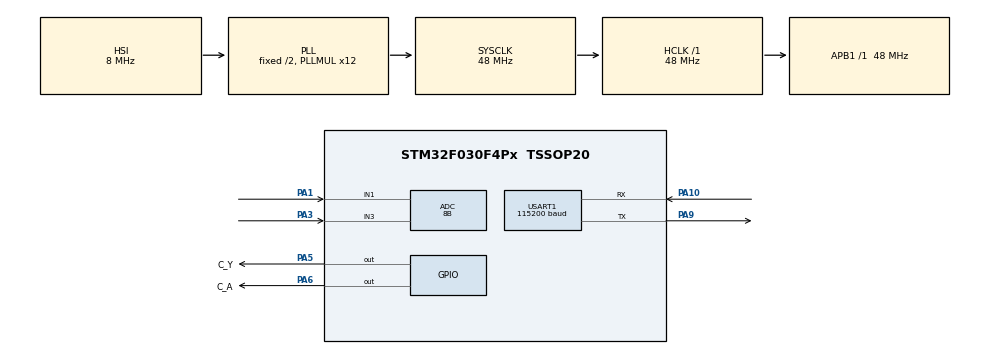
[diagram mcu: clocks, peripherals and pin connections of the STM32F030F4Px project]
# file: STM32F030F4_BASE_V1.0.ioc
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ADC.ClockPrescaler=ADC_CLOCK_ASYNC_DIV1
ADC.ContinuousConvMode=DISABLE
ADC.DMAContinuousRequests=ENABLE
ADC.DataAlign=ADC_DATAALIGN_RIGHT
ADC.DiscontinuousConvMode=DISABLE
ADC.EOCSelection=ADC_EOC_SINGLE_CONV
ADC.EnableAnalogWatchDog=false
ADC.ExternalTrigConv=ADC_EXTERNALTRIGCONV_T1_TRGO
ADC.ExternalTrigConvEdge=ADC_EXTERNALTRIGCONVEDGE_RISING
ADC.LowPowerAutoPowerOff=DISABLE
ADC.LowPowerAutoWait=DISABLE
ADC.Overrun=ADC_OVR_DATA_PRESERVED
ADC.Resolution=ADC_RESOLUTION_8B
ADC.SamplingTime=ADC_SAMPLETIME_239CYCLES_5
ADC.ScanConvMode=ADC_SCAN_DIRECTION_FORWARD
Dma.ADC.2.Direction=DMA_PERIPH_TO_MEMORY
Dma.ADC.2.Instance=DMA1_Channel1
Dma.ADC.2.MemDataAlignment=DMA_MDATAALIGN_BYTE
Dma.ADC.2.MemInc=DMA_MINC_ENABLE
Dma.ADC.2.Mode=DMA_CIRCULAR
Dma.ADC.2.PeriphDataAlignment=DMA_PDATAALIGN_BYTE
Dma.ADC.2.PeriphInc=DMA_PINC_DISABLE
Dma.ADC.2.Priority=DMA_PRIORITY_LOW
Dma.Request0=USART1_RX
Dma.Request1=USART1_TX
Dma.Request2=ADC
Dma.USART1_RX.0.Direction=DMA_PERIPH_TO_MEMORY
Dma.USART1_RX.0.Instance=DMA1_Channel3
Dma.USART1_RX.0.MemDataAlignment=DMA_MDATAALIGN_BYTE
Dma.USART1_RX.0.MemInc=DMA_MINC_ENABLE
Dma.USART1_RX.0.Mode=DMA_NORMAL
Dma.USART1_RX.0.PeriphDataAlignment=DMA_PDATAALIGN_BYTE
Dma.USART1_RX.0.PeriphInc=DMA_PINC_DISABLE
Dma.USART1_RX.0.Priority=DMA_PRIORITY_LOW
Dma.USART1_TX.1.Direction=DMA_MEMORY_TO_PERIPH
Dma.USART1_TX.1.Instance=DMA1_Channel2
Dma.USART1_TX.1.MemDataAlignment=DMA_MDATAALIGN_BYTE
Dma.USART1_TX.1.MemInc=DMA_MINC_ENABLE
Dma.USART1_TX.1.Mode=DMA_NORMAL
Dma.USART1_TX.1.PeriphDataAlignment=DMA_PDATAALIGN_BYTE
Dma.USART1_TX.1.PeriphInc=DMA_PINC_DISABLE
Dma.USART1_TX.1.Priority=DMA_PRIORITY_LOW
Mcu.Family=STM32F0
Mcu.Name=STM32F030F4Px
Mcu.Package=TSSOP20
NVIC.ADC1_IRQn=true\:0\:0\:false\:false\:true
NVIC.DMA1_Channel1_IRQn=true\:0\:0\:false\:false\:true
NVIC.DMA1_Channel2_3_IRQn=true\:0\:0\:false\:false\:true
NVIC.TIM16_IRQn=true\:1\:0\:true\:false\:true
NVIC.TIM17_IRQn=true\:2\:0\:true\:false\:true
PA1.Mode=IN1
PA1.Signal=ADC_IN1
PA10.Mode=Asynchronous
PA10.Signal=USART1_RX
PA3.Mode=IN3
PA3.Signal=ADC_IN3
PA5.GPIO_Label=C_Y
PA5.Signal=GPIO_Output
PA6.GPIO_Label=C_A
PA6.Signal=GPIO_Output
PA9.Mode=Asynchronous
PA9.Signal=USART1_TX
ProjectManager.HeapSize=0x800
ProjectManager.StackSize=0x400
ProjectManager.TargetToolchain=MDK-ARM V5
RCC.AHBFreq_Value=48000000
RCC.APB1Freq_Value=48000000
RCC.APB1TimFreq_Value=48000000
RCC.HCLKFreq_Value=48000000
RCC.PLLMUL=RCC_PLL_MUL12
RCC.SYSCLKFreq_VALUE=48000000
RCC.SYSCLKSource=RCC_SYSCLKSOURCE_PLLCLK
TIM1.AutoReloadPreload=TIM_AUTORELOAD_PRELOAD_ENABLE
TIM1.Period=38-1
TIM1.Prescaler=48-1
TIM1.TIM_MasterOutputTrigger=TIM_TRGO_UPDATE
TIM16.AutoReloadPreload=TIM_AUTORELOAD_PRELOAD_ENABLE
TIM16.Period=25-1
TIM16.Prescaler=24-1
TIM16.RepetitionCounter=0
TIM17.AutoReloadPreload=TIM_AUTORELOAD_PRELOAD_ENABLE
TIM17.Period=50000-1
TIM17.Prescaler=48-1
USART1.BaudRate=115200
USART1.VirtualMode-Asynchronous=VM_ASYNC
VP_TIM16_VS_ClockSourceINT.Mode=Enable_Timer
VP_TIM17_VS_ClockSourceINT.Mode=Enable_Timer
VP_TIM1_VS_ClockSourceINT.Mode=Internal
board=STM32F030F4_BASE_V1.0

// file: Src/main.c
/**
  ******************************************************************************
  * File Name          : main.c
  * Description        : Main program body
  ******************************************************************************
  ** This notice applies to any and all portions of this file
  * that are not between comment pairs USER CODE BEGIN and
  * USER CODE END. Other portions of this file, whether
  * inserted by the user or by software development tools
  * are owned by their respective copyright owners.
  *
  * COPYRIGHT(c) 2017 STMicroelectronics
  *
  * Redistribution and use in source and binary forms, with or without modification,
  * are permitted provided that the following conditions are met:
  *   1. Redistributions of source code must retain the above copyright notice,
  *      this list of conditions and the following disclaimer.
  *   2. Redistributions in binary form must reproduce the above copyright notice,
  *      this list of conditions and the following disclaimer in the documentation
  *      and/or other materials provided with the distribution.
  *   3. Neither the name of STMicroelectronics nor the names of its contributors
  *      may be used to endorse or promote products derived from this software
  *      without specific prior written permission.
  *
  * THIS SOFTWARE IS PROVIDED BY THE COPYRIGHT HOLDERS AND CONTRIBUTORS "AS IS"
  * AND ANY EXPRESS OR IMPLIED WARRANTIES, INCLUDING, BUT NOT LIMITED TO, THE
  * IMPLIED WARRANTIES OF MERCHANTABILITY AND FITNESS FOR A PARTICULAR PURPOSE ARE
  * DISCLAIMED. IN NO EVENT SHALL THE COPYRIGHT HOLDER OR CONTRIBUTORS BE LIABLE
  * FOR ANY DIRECT, INDIRECT, INCIDENTAL, SPECIAL, EXEMPLARY, OR CONSEQUENTIAL
  * DAMAGES (INCLUDING, BUT NOT LIMITED TO, PROCUREMENT OF SUBSTITUTE GOODS OR
  * SERVICES; LOSS OF USE, DATA, OR PROFITS; OR BUSINESS INTERRUPTION) HOWEVER
  * CAUSED AND ON ANY THEORY OF LIABILITY, WHETHER IN CONTRACT, STRICT LIABILITY,
  * OR TORT (INCLUDING NEGLIGENCE OR OTHERWISE) ARISING IN ANY WAY OUT OF THE USE
  * OF THIS SOFTWARE, EVEN IF ADVISED OF THE POSSIBILITY OF SUCH DAMAGE.
  *
  ******************************************************************************
  */
#include "main.h"
#include "stm32f0xx_hal.h"
#include "adc.h"
#include "dma.h"
#include "tim.h"
#include "usart.h"
#include "gpio.h"

/* USER CODE BEGIN Includes */
#include "TaskTimeManager.h"
#include "ComBuff.h"
#include "ProtocolFrame.h"
#include "ProtocolHandle.h"

#include "UltrasonicDriver.h"
/* USER CODE END Includes */

/* USER CODE BEGIN PV */
/* Private variables ---------------------------------------------------------*/

/* USER CODE END PV */

void SystemClock_Config(void);

/* USER CODE BEGIN PFP */
/* Private function prototypes -----------------------------------------------*/

/* USER CODE END PFP */

/* USER CODE BEGIN 0 */
Ultrasonic_T Ultrasonic;
#define ADC_LEN 2
char adc_data[ADC_LEN] = {0};

void LED_TEST(void){
  static uint8_t seq = 0;
//  uint8_t data[100] = "123456\r\n";
//  Uart1_DMA_Sender.Write(&Uart1_DMA_Sender, data, 8);
//  memset(data, 0, 8);
  //PRINT_HEAP();
//	HAL_GPIO_WritePin(C_Y_GPIO_Port, C_Y_Pin, (GPIO_PinState)seq%2);
//	HAL_GPIO_WritePin(C_A_GPIO_Port, C_A_Pin, (GPIO_PinState)(~(seq%2))& 0x01);
	seq++;
//	if(seq % 100 == 0)
//		printf("LED_TEST:%d,%d,%d\r\n", seq,adc_data[0], adc_data[1]);
	//printf("LED_TEST:%d, %d\r\n", tmp, htim1.Instance->CNT);
//	for(int i = 0; i < 100; i++){
//		printf("%3d:%3d ", i, Ultrasonic.Wave_Adc_Buff[i]);
//		if(i % 10 == 0)
//			printf("\r\n");
////		printf("%d,%d", adc_data[0], adc_data[1]);
//	}

//	getTempSensor();
	ULT_RESULT res = Ultrasonic_Send(&Ultrasonic);
//	printf("res:%d\r\n", res);

//	ULT_DMA_START(&ULT_ADC);
//	ULT_CAL_TIM_START();//计时器开始计时
//
//	printf("dma时间：%d,%d\r\n", jishi1,jishi2);
//	jishi1 = jishi2 = 0;
}

//void HAL_TIM_PeriodElapsedCallback(TIM_HandleTypeDef *htim){
//	if(htim == &htim16){
//			cnt++;
//	}else if(htim == &htim17){
////		uint32_t tmp = cnt;
////		cnt = 0;
////		printf("%d, %d\r\n", tmp, htim16.Instance->CNT);
//	}
//}
/* USER CODE END 0 */

int main(void)
{

  /* MCU Configuration----------------------------------------------------------*/

  /* Reset of all peripherals, Initializes the Flash interface and the Systick. */
  HAL_Init();

  /* Configure the system clock */
  SystemClock_Config();

  /* Initialize all configured peripherals */
  MX_GPIO_Init();
  MX_DMA_Init();
  MX_USART1_UART_Init();
  MX_ADC_Init();
  MX_TIM16_Init();
  MX_TIM17_Init();
  MX_TIM1_Init();

  /* USER CODE BEGIN 2 */
	TaskTime_Init();
//  ProtocolFrame_Init();
  Log_Init();
  ComBuff_Init();

	Ultrasonic_Init(&Ultrasonic);
	//HAL_TIM_PWM_Start(&htim1, TIM_CHANNEL_4);
//	HAL_TIM_Base_Start(&htim1);
//	HAL_ADC_Start_DMA(&hadc, (uint32_t*)Ultrasonic.Wave_Adc_Buff, WAVE_ADC_BUFF);

	/*-----------测试调试任务-----------------*/
  TaskTime_Add(TaskID++, TimeCycle(1,000), LED_TEST, Real_Mode);
	/*-----------持续传输任务-----------------*/
//  TaskTime_Add(TaskID++, TimeCycle(0,30), SenderKeepTransmit, Count_Mode);
//	/*-----------协议解析任务-----------------*/
//  TaskTime_Add(TaskID++, TimeCycle(0,30), PaddingProtocol, Real_Mode);
//	/*-----------协议执行任务-----------------*/
//	TaskTime_Add(TaskID++, TimeCycle(0,30), FetchProtocols, Real_Mode);
  /* USER CODE END 2 */

  /* Infinite loop */
  while (1)
  {

  /* USER CODE BEGIN 3 */
    TaskTime_Run();
  }
  /* USER CODE END 3 */

}

/** System Clock Configuration
*/
void SystemClock_Config(void)
{

  RCC_OscInitTypeDef RCC_OscInitStruct;
  RCC_ClkInitTypeDef RCC_ClkInitStruct;
  RCC_PeriphCLKInitTypeDef PeriphClkInit;

    /**Initializes the CPU, AHB and APB busses clocks
    */
  RCC_OscInitStruct.OscillatorType = RCC_OSCILLATORTYPE_HSI|RCC_OSCILLATORTYPE_HSI14;
  RCC_OscInitStruct.HSIState = RCC_HSI_ON;
  RCC_OscInitStruct.HSI14State = RCC_HSI14_ON;
  RCC_OscInitStruct.HSICalibrationValue = 16;
  RCC_OscInitStruct.HSI14CalibrationValue = 16;
  RCC_OscInitStruct.PLL.PLLState = RCC_PLL_ON;
  RCC_OscInitStruct.PLL.PLLSource = RCC_PLLSOURCE_HSI;
  RCC_OscInitStruct.PLL.PLLMUL = RCC_PLL_MUL12;
  RCC_OscInitStruct.PLL.PREDIV = RCC_PREDIV_DIV1;
  if (HAL_RCC_OscConfig(&RCC_OscInitStruct) != HAL_OK)
  {
    _Error_Handler(__FILE__, __LINE__);
  }

    /**Initializes the CPU, AHB and APB busses clocks
    */
  RCC_ClkInitStruct.ClockType = RCC_CLOCKTYPE_HCLK|RCC_CLOCKTYPE_SYSCLK
                              |RCC_CLOCKTYPE_PCLK1;
  RCC_ClkInitStruct.SYSCLKSource = RCC_SYSCLKSOURCE_PLLCLK;
  RCC_ClkInitStruct.AHBCLKDivider = RCC_SYSCLK_DIV1;
  RCC_ClkInitStruct.APB1CLKDivider = RCC_HCLK_DIV1;

  if (HAL_RCC_ClockConfig(&RCC_ClkInitStruct, FLASH_LATENCY_1) != HAL_OK)
  {
    _Error_Handler(__FILE__, __LINE__);
  }

  PeriphClkInit.PeriphClockSelection = RCC_PERIPHCLK_USART1;
  PeriphClkInit.Usart1ClockSelection = RCC_USART1CLKSOURCE_PCLK1;
  if (HAL_RCCEx_PeriphCLKConfig(&PeriphClkInit) != HAL_OK)
  {
    _Error_Handler(__FILE__, __LINE__);
  }

    /**Configure the Systick interrupt time
    */
  HAL_SYSTICK_Config(HAL_RCC_GetHCLKFreq()/1000);

    /**Configure the Systick
    */
  HAL_SYSTICK_CLKSourceConfig(SYSTICK_CLKSOURCE_HCLK);

  /* SysTick_IRQn interrupt configuration */
  HAL_NVIC_SetPriority(SysTick_IRQn, 0, 0);
}

void _Error_Handler(char * file, int line)
{
  while(1)
  {
  }
}

/************************ (C) COPYRIGHT STMicroelectronics *****END OF FILE****/
